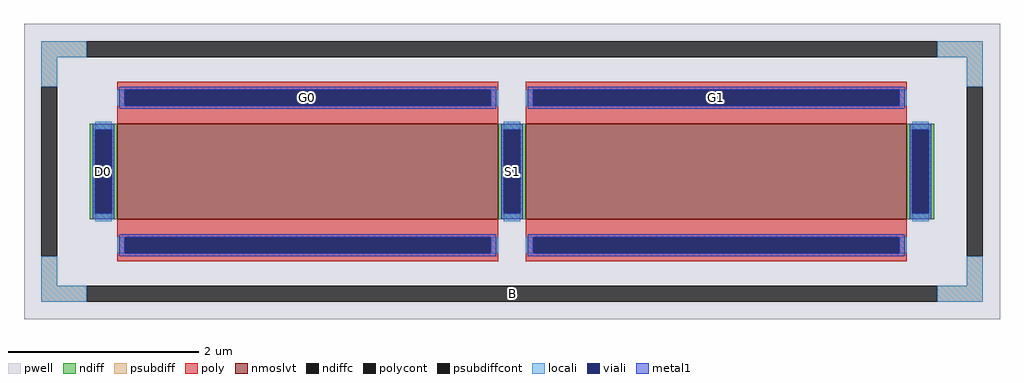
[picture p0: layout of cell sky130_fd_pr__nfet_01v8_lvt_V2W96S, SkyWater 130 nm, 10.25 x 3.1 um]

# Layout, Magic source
magic
tech sky130A
magscale 1 2
<< pwell >>
rect -1025 -310 1025 310
<< nmoslvt >>
rect -829 -100 -29 100
rect 29 -100 829 100
<< ndiff >>
rect -887 88 -829 100
rect -887 -88 -875 88
rect -841 -88 -829 88
rect -887 -100 -829 -88
rect -29 88 29 100
rect -29 -88 -17 88
rect 17 -88 29 88
rect -29 -100 29 -88
rect 829 88 887 100
rect 829 -88 841 88
rect 875 -88 887 88
rect 829 -100 887 -88
<< ndiffc >>
rect -875 -88 -841 88
rect -17 -88 17 88
rect 841 -88 875 88
<< psubdiff >>
rect -989 240 -893 274
rect 893 240 989 274
rect -989 178 -955 240
rect 955 178 989 240
rect -989 -240 -955 -178
rect 955 -240 989 -178
rect -989 -274 -893 -240
rect 893 -274 989 -240
<< psubdiffcont >>
rect -893 240 893 274
rect -989 -178 -955 178
rect 955 -178 989 178
rect -893 -274 893 -240
<< poly >>
rect -829 172 -29 188
rect -829 138 -813 172
rect -45 138 -29 172
rect -829 100 -29 138
rect 29 172 829 188
rect 29 138 45 172
rect 813 138 829 172
rect 29 100 829 138
rect -829 -138 -29 -100
rect -829 -172 -813 -138
rect -45 -172 -29 -138
rect -829 -188 -29 -172
rect 29 -138 829 -100
rect 29 -172 45 -138
rect 813 -172 829 -138
rect 29 -188 829 -172
<< polycont >>
rect -813 138 -45 172
rect 45 138 813 172
rect -813 -172 -45 -138
rect 45 -172 813 -138
<< locali >>
rect -989 240 -893 274
rect 893 240 989 274
rect -989 178 -955 240
rect 955 178 989 240
rect -829 138 -813 172
rect -45 138 -29 172
rect 29 138 45 172
rect 813 138 829 172
rect -875 88 -841 104
rect -875 -104 -841 -88
rect -17 88 17 104
rect -17 -104 17 -88
rect 841 88 875 104
rect 841 -104 875 -88
rect -829 -172 -813 -138
rect -45 -172 -29 -138
rect 29 -172 45 -138
rect 813 -172 829 -138
rect -989 -240 -955 -178
rect 955 -240 989 -178
rect -989 -274 -893 -240
rect 893 -274 989 -240
<< viali >>
rect -813 138 -45 172
rect 45 138 813 172
rect -875 -88 -841 88
rect -17 -88 17 88
rect 841 -88 875 88
rect -813 -172 -45 -138
rect 45 -172 813 -138
<< metal1 >>
rect -825 172 -33 178
rect -825 138 -813 172
rect -45 138 -33 172
rect -825 132 -33 138
rect 33 172 825 178
rect 33 138 45 172
rect 813 138 825 172
rect 33 132 825 138
rect -881 88 -835 100
rect -881 -88 -875 88
rect -841 -88 -835 88
rect -881 -100 -835 -88
rect -23 88 23 100
rect -23 -88 -17 88
rect 17 -88 23 88
rect -23 -100 23 -88
rect 835 88 881 100
rect 835 -88 841 88
rect 875 -88 881 88
rect 835 -100 881 -88
rect -825 -138 -33 -132
rect -825 -172 -813 -138
rect -45 -172 -33 -138
rect -825 -178 -33 -172
rect 33 -138 825 -132
rect 33 -172 45 -138
rect 813 -172 825 -138
rect 33 -178 825 -172
<< labels >>
rlabel psubdiffcont 0 -257 0 -257 0 B
port 1 nsew
rlabel ndiffc -858 0 -858 0 0 D0
port 2 nsew
rlabel polycont -429 155 -429 155 0 G0
port 3 nsew
rlabel ndiffc 0 0 0 0 0 S1
port 4 nsew
rlabel polycont 429 155 429 155 0 G1
port 5 nsew
<< properties >>
string FIXED_BBOX -972 -257 972 257
string gencell sky130_fd_pr__nfet_01v8_lvt
string library sky130
string parameters w 1 l 4 m 1 nf 2 diffcov 100 polycov 100 guard 1 glc 1 grc 1 gtc 1 gbc 1 tbcov 100 rlcov 100 topc 1 botc 1 poverlap 0 doverlap 1 lmin 0.15 wmin 0.42 class mosfet compatible {sky130_fd_pr__nfet_01v8 sky130_fd_pr__nfet_01v8_lvt  sky130_fd_bs_flash__special_sonosfet_star  sky130_fd_pr__nfet_g5v0d10v5 sky130_fd_pr__nfet_05v0_nvt  sky130_fd_pr__nfet_03v3_nvt} full_metal 1 conn_gates 0 viasrc 100 viadrn 100 viagate 100 viagb 0 viagr 0 viagl 0 viagt 0 doports 1
<< end >>
